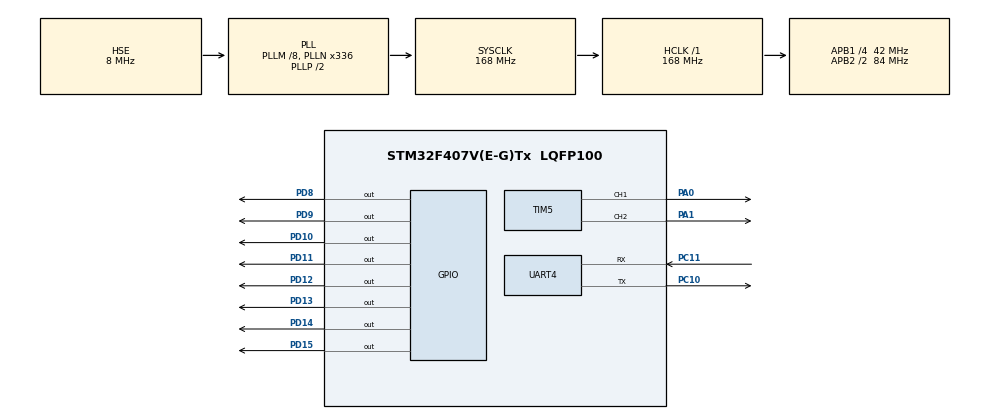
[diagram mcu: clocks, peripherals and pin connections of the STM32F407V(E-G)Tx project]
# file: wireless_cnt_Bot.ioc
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FREERTOS.Tasks01=defaultTask,24,128,StartDefaultTask,Default,NULL,Dynamic,NULL,NULL;motor_control,8,128,motor_task,Default,NULL,Dynamic,NULL,NULL
Mcu.Family=STM32F4
Mcu.Name=STM32F407V(E-G)Tx
Mcu.Package=LQFP100
NVIC.PriorityGroup=NVIC_PRIORITYGROUP_4
NVIC.TIM7_IRQn=true\:0\:0\:false\:false\:true\:false\:false\:true
NVIC.TimeBase=TIM7_IRQn
NVIC.TimeBaseIP=TIM7
NVIC.UART4_IRQn=true\:5\:0\:false\:false\:true\:true\:true\:true
PA0-WKUP.Signal=S_TIM5_CH1
PA1.Signal=S_TIM5_CH2
PC10.Mode=Asynchronous
PC10.Signal=UART4_TX
PC11.Mode=Asynchronous
PC11.Signal=UART4_RX
PD10.Signal=GPIO_Output
PD11.Signal=GPIO_Output
PD12.Signal=GPIO_Output
PD13.Signal=GPIO_Output
PD14.Signal=GPIO_Output
PD15.Signal=GPIO_Output
PD8.Signal=GPIO_Output
PD9.Signal=GPIO_Output
PH0-OSC_IN.Mode=HSE-External-Oscillator
PH0-OSC_IN.Signal=RCC_OSC_IN
PH1-OSC_OUT.Mode=HSE-External-Oscillator
PH1-OSC_OUT.Signal=RCC_OSC_OUT
ProjectManager.HeapSize=0x200
ProjectManager.StackSize=0x400
ProjectManager.TargetToolchain=STM32CubeIDE
RCC.48MHZClocksFreq_Value=48000000
RCC.AHBFreq_Value=168000000
RCC.APB1CLKDivider=RCC_HCLK_DIV4
RCC.APB1Freq_Value=42000000
RCC.APB1TimFreq_Value=84000000
RCC.APB2CLKDivider=RCC_HCLK_DIV2
RCC.APB2Freq_Value=84000000
RCC.APB2TimFreq_Value=168000000
RCC.CortexFreq_Value=168000000
RCC.HCLKFreq_Value=168000000
RCC.HSE_VALUE=8000000
RCC.HSI_VALUE=16000000
RCC.LSE_VALUE=32768
RCC.PLLM=8
RCC.PLLN=336
RCC.PLLQ=7
RCC.PLLSourceVirtual=RCC_PLLSOURCE_HSE
RCC.SYSCLKFreq_VALUE=168000000
RCC.SYSCLKSource=RCC_SYSCLKSOURCE_PLLCLK
RCC.VCOOutputFreq_Value=336000000
SH.S_TIM5_CH1.0=TIM5_CH1,PWM Generation1 CH1
SH.S_TIM5_CH2.0=TIM5_CH2,PWM Generation2 CH2
TIM5.Channel-PWM\ Generation1\ CH1=TIM_CHANNEL_1
TIM5.Channel-PWM\ Generation2\ CH2=TIM_CHANNEL_2
UART4.VirtualMode=Asynchronous
VP_FREERTOS_VS_CMSIS_V2.Mode=CMSIS_V2
VP_SYS_VS_tim7.Mode=TIM7
board=STM32F407G-DISC1

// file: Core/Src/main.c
/* USER CODE BEGIN Header */
/**
  ******************************************************************************
  * @file           : main.c
  * @brief          : Main program body
  ******************************************************************************
  * @attention
  *
  * <h2><center>&copy; Copyright (c) 2020 STMicroelectronics.
  * All rights reserved.</center></h2>
  *
  * This software component is licensed by ST under Ultimate Liberty license
  * SLA0044, the "License"; You may not use this file except in compliance with
  * the License. You may obtain a copy of the License at:
  *                             www.st.com/SLA0044
  *
  ******************************************************************************
  */
/* USER CODE END Header */

#include "main.h"
#include "cmsis_os.h"

/* USER CODE BEGIN PTD */
typedef union joystick_raw_data_frame{
	struct {
		uint8_t startbyte;
		uint8_t left_x[4];
		uint8_t left_y[4];
		uint8_t right_x[4];
		uint8_t right_y[4];
		uint8_t stopbyte;
	};
	uint8_t full_frame[18];
}joystick_data_frame_t;

typedef struct joystick_data_value{
	uint32_t left_x;
	uint32_t left_y;
	uint32_t right_x;
	uint32_t right_y;
}joystick_data_value_t;

/* USER CODE END PTD */

/* USER CODE BEGIN PD */
#define FORLOOP  0
/* USER CODE END PD */

TIM_HandleTypeDef htim5;

UART_HandleTypeDef huart4;

/* Definitions for defaultTask */
osThreadId_t defaultTaskHandle;
const osThreadAttr_t defaultTask_attributes = {
  .name = "defaultTask",
  .priority = (osPriority_t) osPriorityNormal,
  .stack_size = 128 * 4
};
/* Definitions for motor_control */
osThreadId_t motor_controlHandle;
const osThreadAttr_t motor_control_attributes = {
  .name = "motor_control",
  .priority = (osPriority_t) osPriorityLow,
  .stack_size = 128 * 4
};
/* USER CODE BEGIN PV */
joystick_data_frame_t joystick_data_frame;
joystick_data_value_t joystick_data_value;

/* USER CODE END PV */

void SystemClock_Config(void);
static void MX_GPIO_Init(void);
static void MX_TIM5_Init(void);
static void MX_UART4_Init(void);
void StartDefaultTask(void *argument);
void motor_task(void *argument);

int main(void)
{

  /* MCU Configuration--------------------------------------------------------*/

  /* Reset of all peripherals, Initializes the Flash interface and the Systick. */
  HAL_Init();

  /* Configure the system clock */
  SystemClock_Config();

  /* Initialize all configured peripherals */
  MX_GPIO_Init();
  MX_TIM5_Init();
  MX_UART4_Init();

  /* Init scheduler */
  osKernelInitialize();

  /* Create the thread(s) */
  /* creation of defaultTask */
  defaultTaskHandle = osThreadNew(StartDefaultTask, NULL, &defaultTask_attributes);

  /* creation of motor_control */
  motor_controlHandle = osThreadNew(motor_task, NULL, &motor_control_attributes);

  /* Start scheduler */
  osKernelStart();

  /* We should never get here as control is now taken by the scheduler */
  /* Infinite loop */
  while (1)
  {

  }
}

void SystemClock_Config(void)
{
  RCC_OscInitTypeDef RCC_OscInitStruct = {0};
  RCC_ClkInitTypeDef RCC_ClkInitStruct = {0};

  /** Configure the main internal regulator output voltage
  */
  __HAL_RCC_PWR_CLK_ENABLE();
  __HAL_PWR_VOLTAGESCALING_CONFIG(PWR_REGULATOR_VOLTAGE_SCALE1);
  /** Initializes the CPU, AHB and APB busses clocks
  */
  RCC_OscInitStruct.OscillatorType = RCC_OSCILLATORTYPE_HSE;
  RCC_OscInitStruct.HSEState = RCC_HSE_ON;
  RCC_OscInitStruct.PLL.PLLState = RCC_PLL_ON;
  RCC_OscInitStruct.PLL.PLLSource = RCC_PLLSOURCE_HSE;
  RCC_OscInitStruct.PLL.PLLM = 8;
  RCC_OscInitStruct.PLL.PLLN = 336;
  RCC_OscInitStruct.PLL.PLLP = RCC_PLLP_DIV2;
  RCC_OscInitStruct.PLL.PLLQ = 7;
  if (HAL_RCC_OscConfig(&RCC_OscInitStruct) != HAL_OK)
  {
    Error_Handler();
  }
  /** Initializes the CPU, AHB and APB busses clocks
  */
  RCC_ClkInitStruct.ClockType = RCC_CLOCKTYPE_HCLK|RCC_CLOCKTYPE_SYSCLK
                              |RCC_CLOCKTYPE_PCLK1|RCC_CLOCKTYPE_PCLK2;
  RCC_ClkInitStruct.SYSCLKSource = RCC_SYSCLKSOURCE_PLLCLK;
  RCC_ClkInitStruct.AHBCLKDivider = RCC_SYSCLK_DIV1;
  RCC_ClkInitStruct.APB1CLKDivider = RCC_HCLK_DIV4;
  RCC_ClkInitStruct.APB2CLKDivider = RCC_HCLK_DIV2;

  if (HAL_RCC_ClockConfig(&RCC_ClkInitStruct, FLASH_LATENCY_5) != HAL_OK)
  {
    Error_Handler();
  }
}

static void MX_TIM5_Init(void)
{

  TIM_MasterConfigTypeDef sMasterConfig = {0};
  TIM_OC_InitTypeDef sConfigOC = {0};

  htim5.Instance = TIM5;
  htim5.Init.Prescaler = 0;
  htim5.Init.CounterMode = TIM_COUNTERMODE_UP;
  htim5.Init.Period = 0;
  htim5.Init.ClockDivision = TIM_CLOCKDIVISION_DIV1;
  htim5.Init.AutoReloadPreload = TIM_AUTORELOAD_PRELOAD_DISABLE;
  if (HAL_TIM_PWM_Init(&htim5) != HAL_OK)
  {
    Error_Handler();
  }
  sMasterConfig.MasterOutputTrigger = TIM_TRGO_RESET;
  sMasterConfig.MasterSlaveMode = TIM_MASTERSLAVEMODE_DISABLE;
  if (HAL_TIMEx_MasterConfigSynchronization(&htim5, &sMasterConfig) != HAL_OK)
  {
    Error_Handler();
  }
  sConfigOC.OCMode = TIM_OCMODE_PWM1;
  sConfigOC.Pulse = 0;
  sConfigOC.OCPolarity = TIM_OCPOLARITY_HIGH;
  sConfigOC.OCFastMode = TIM_OCFAST_DISABLE;
  if (HAL_TIM_PWM_ConfigChannel(&htim5, &sConfigOC, TIM_CHANNEL_1) != HAL_OK)
  {
    Error_Handler();
  }
  if (HAL_TIM_PWM_ConfigChannel(&htim5, &sConfigOC, TIM_CHANNEL_2) != HAL_OK)
  {
    Error_Handler();
  }
  HAL_TIM_MspPostInit(&htim5);

}

static void MX_UART4_Init(void)
{

  huart4.Instance = UART4;
  huart4.Init.BaudRate = 115200;
  huart4.Init.WordLength = UART_WORDLENGTH_8B;
  huart4.Init.StopBits = UART_STOPBITS_1;
  huart4.Init.Parity = UART_PARITY_NONE;
  huart4.Init.Mode = UART_MODE_TX_RX;
  huart4.Init.HwFlowCtl = UART_HWCONTROL_NONE;
  huart4.Init.OverSampling = UART_OVERSAMPLING_16;
  if (HAL_UART_Init(&huart4) != HAL_OK)
  {
    Error_Handler();
  }

}

static void MX_GPIO_Init(void)
{
  GPIO_InitTypeDef GPIO_InitStruct = {0};

  /* GPIO Ports Clock Enable */
  __HAL_RCC_GPIOH_CLK_ENABLE();
  __HAL_RCC_GPIOA_CLK_ENABLE();
  __HAL_RCC_GPIOD_CLK_ENABLE();
  __HAL_RCC_GPIOC_CLK_ENABLE();

  /*Configure GPIO pin Output Level */
  HAL_GPIO_WritePin(GPIOD, GPIO_PIN_8|GPIO_PIN_9|GPIO_PIN_10|GPIO_PIN_11
                          |GPIO_PIN_12|GPIO_PIN_13|GPIO_PIN_14|GPIO_PIN_15, GPIO_PIN_RESET);

  /*Configure GPIO pins : PD8 PD9 PD10 PD11
                           PD12 PD13 PD14 PD15 */
  GPIO_InitStruct.Pin = GPIO_PIN_8|GPIO_PIN_9|GPIO_PIN_10|GPIO_PIN_11
                          |GPIO_PIN_12|GPIO_PIN_13|GPIO_PIN_14|GPIO_PIN_15;
  GPIO_InitStruct.Mode = GPIO_MODE_OUTPUT_PP;
  GPIO_InitStruct.Pull = GPIO_NOPULL;
  GPIO_InitStruct.Speed = GPIO_SPEED_FREQ_LOW;
  HAL_GPIO_Init(GPIOD, &GPIO_InitStruct);

}

void StartDefaultTask(void *argument)
{
  for(;;)
  {
    osDelay(1);
  }
}

void motor_task(void *argument)
{
  /* USER CODE BEGIN motor_task */
	uint8_t temp_buffer;
	uint8_t index;
  /* Infinite loop */
  for(;;)
  {

	HAL_UART_Receive(&huart4,&temp_buffer ,8,HAL_MAX_DELAY);
	if(temp_buffer == 'S'){
		index=1;
		while(temp_buffer != '\n'){
			HAL_UART_Receive(&huart4,&temp_buffer ,8,HAL_MAX_DELAY);
			joystick_data_frame.full_frame[index++]=temp_buffer;
		}
	}

	if(joystick_data_frame.stopbyte == '\n'){
/*check this #if and create the below code using for loop*/
#if (!FORLOOP)
		joystick_data_value.left_x=((joystick_data_frame.left_x[0]-48) \
				+ (joystick_data_frame.left_x[1]-48) \
				+ (joystick_data_frame.left_x[2]-48) \
				+ (joystick_data_frame.left_x[3]-48) );
		joystick_data_value.left_y=((joystick_data_frame.left_y[0]-48) \
						+ (joystick_data_frame.left_y[1]-48) \
						+ (joystick_data_frame.left_y[2]-48) \
						+ (joystick_data_frame.left_y[3]-48) );

		joystick_data_value.right_x=((joystick_data_frame.right_x[0]-48) \
						+ (joystick_data_frame.right_x[1]-48) \
						+ (joystick_data_frame.right_x[2]-48) \
						+ (joystick_data_frame.right_x[3]-48) );
		joystick_data_value.right_y=((joystick_data_frame.right_y[0]-48) \
						+ (joystick_data_frame.right_y[1]-48) \
						+ (joystick_data_frame.right_y[2]-48) \
						+ (joystick_data_frame.right_y[3]-48) );
#endif
	}

    osDelay(1);
  }
  /* USER CODE END motor_task */
}

 /**
  * @brief  Period elapsed callback in non blocking mode
  * @note   This function is called  when TIM7 interrupt took place, inside
  * HAL_TIM_IRQHandler(). It makes a direct call to HAL_IncTick() to increment
  * a global variable "uwTick" used as application time base.
  * @param  htim : TIM handle
  * @retval None
  */
void HAL_TIM_PeriodElapsedCallback(TIM_HandleTypeDef *htim)
{
  if (htim->Instance == TIM7) {
    HAL_IncTick();
  }
}

void Error_Handler(void)
{
}

/************************ (C) COPYRIGHT STMicroelectronics *****END OF FILE****/
